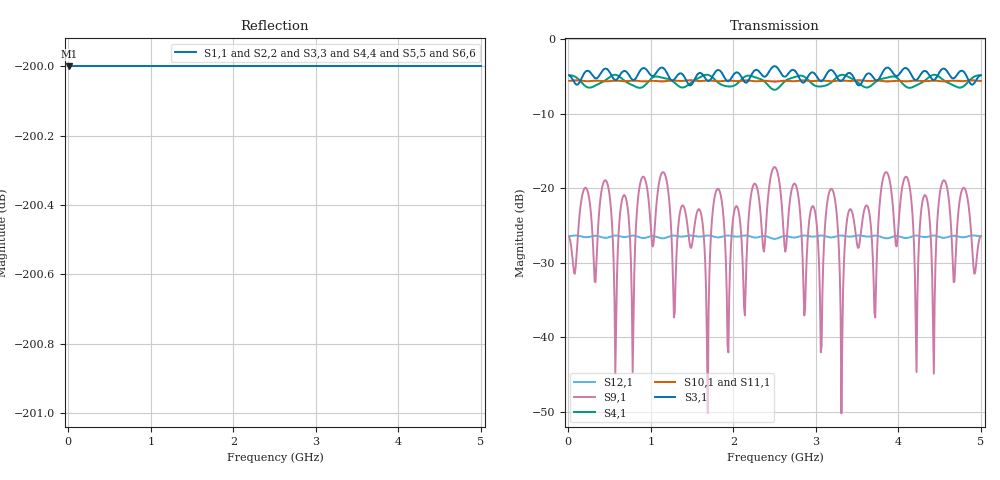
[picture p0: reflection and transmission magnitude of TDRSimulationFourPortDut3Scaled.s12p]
# MHz MA S R 50.0
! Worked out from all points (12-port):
!   500 points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, 10 MHz to 5 GHz, reference 50 ohm
!   strongest paths, dB at 10 MHz, 1.26 GHz, 2.51 GHz, 3.76 GHz, 5 GHz:
!     S3,1: -4.9, -5.6, -3.7, -5.4, -4.9
!     S10,1: -5.6, -5.6, -5.7, -5.6, -5.6
!     S4,1: -4.9, -5.6, -6.8, -5.5, -4.9
!     S11,1: -5.6, -5.6, -6.0, -5.6, -5.6
!     S9,1: -26.6, -29.0, -17.2, -24.2, -26.4
!     S12,1: -26.4, -26.4, -26.8, -26.4, -26.4
!   lowest |S11| = - dB at 10 MHz (marker M1), VSWR 1.00, Z = 50 + j0 ohm
!   |S11| at or under -10 dB: start of sweep to end of sweep
